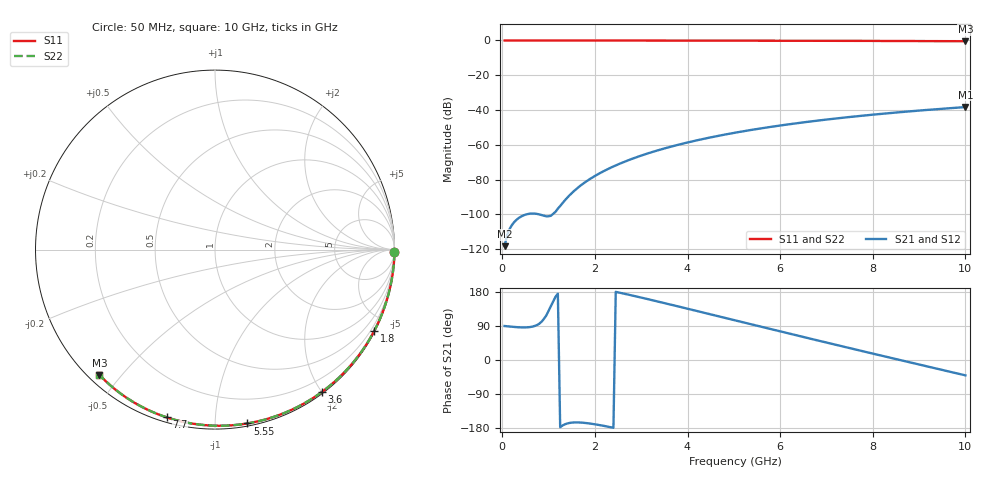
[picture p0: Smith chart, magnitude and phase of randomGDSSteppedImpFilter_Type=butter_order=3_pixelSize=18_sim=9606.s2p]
! freq	dB(S11)	phase(S11)	dB(S12)	phase(S12)
!  dB(S21)	phase(S21)	dB(S22)	phase(S22)
!S-par simulation data
#  GHz  S  DB  R 50
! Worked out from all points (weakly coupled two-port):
!   200 points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, 50 MHz to 10 GHz, reference 50 ohm
!   highest |S21| = -38.31 dB at 10 GHz (marker M1); lowest = -118.3 dB at 50 MHz (marker M2)
!   lowest |S11| = -0.4 dB at 10 GHz (marker M3), VSWR 38.71, Z = 1.54 - j21.9 ohm
!   |S11| at or under -10 dB: nowhere
!   |S22| runs from -0.4 to 0.0 dB; largest |S21 - S12| = 0
!   S11 on the Smith chart (normalised r, x): 50 MHz: open; 1.8 GHz: 0.04, -4.13; 3.6 GHz: 0.02, -2.00; 5.55 GHz: 0.02, -1.20; 7.7 GHz: 0.02, -0.75; 10 GHz: 0.03, -0.44
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0.05  -0.00 -0.8  -118.25 89.7  -118.25 89.7  -0.00 -0.8
0.9  -0.02 -13.7  -100.79 108.8  -100.79 108.8  -0.02 -13.7
1.75  -0.03 -26.5  -82.23 -165.6  -82.23 -165.6  -0.03 -26.5
1.8  -0.03 -27.2  -81.28 -166.2  -81.28 -166.2  -0.03 -27.2
1.85  -0.04 -27.9  -80.39 -167.0  -80.39 -167.0  -0.04 -27.9
1.9  -0.04 -28.7  -79.52 -167.8  -79.52 -167.8  -0.04 -28.7
2.05  -0.04 -30.9  -77.13 -170.7  -77.13 -170.7  -0.04 -30.9
2.25  -0.04 -33.8  -74.31 -175.2  -74.31 -175.2  -0.04 -33.8
2.45  -0.05 -36.8  -71.82 179.8  -71.82 179.8  -0.05 -36.8
2.65  -0.05 -39.7  -69.59 174.5  -69.59 174.5  -0.05 -39.7
3  -0.06 -44.7  -66.18 164.7  -66.18 164.7  -0.06 -44.7
3.4  -0.07 -50.4  -62.84 153.1  -62.84 153.1  -0.07 -50.4
3.6  -0.07 -53.2  -61.34 147.2  -61.34 147.2  -0.07 -53.2
4.3  -0.09 -62.8  -56.84 126.4  -56.84 126.4  -0.09 -62.8
5.05  -0.11 -72.9  -52.92 104.0  -52.92 104.0  -0.11 -72.9
5.55  -0.13 -79.4  -50.69 89.0  -50.69 89.0  -0.13 -79.4
6.1  -0.15 -86.4  -48.52 72.6  -48.52 72.6  -0.15 -86.4
6.7  -0.18 -93.9  -46.43 54.9  -46.43 54.9  -0.18 -93.9
7.7  -0.24 -106.0  -43.45 25.6  -43.45 25.6  -0.24 -106.0
8.35  -0.29 -113.7  -41.79 6.8  -41.79 6.8  -0.29 -113.7
9.15  -0.36 -123.0  -39.98 -16.2  -39.98 -16.2  -0.36 -123.0
10  -0.45 -132.7  -38.31 -40.5  -38.31 -40.5  -0.45 -132.7
